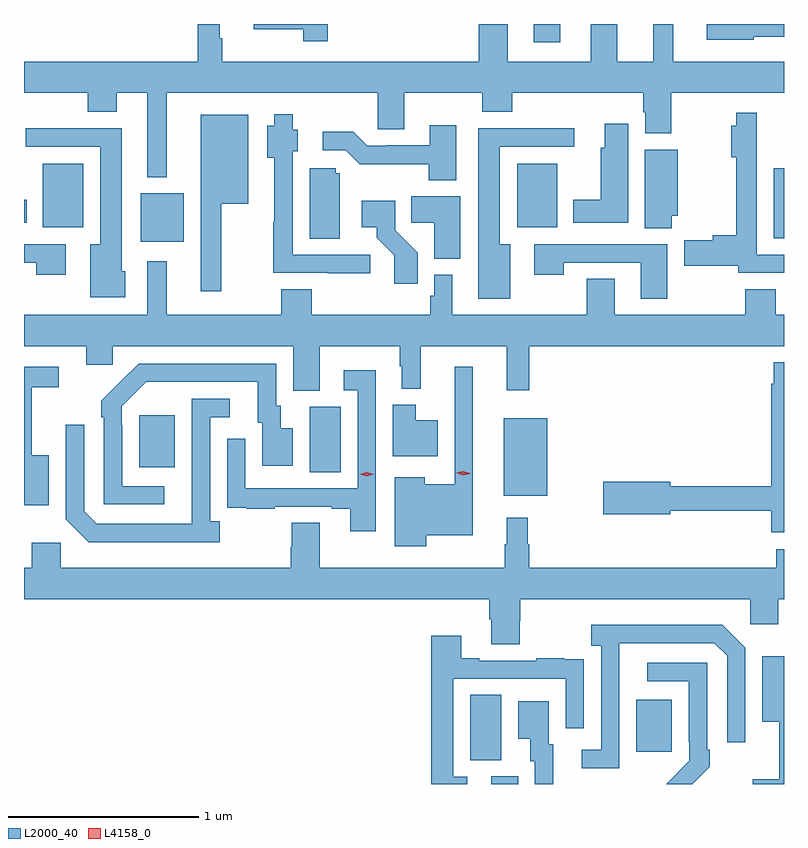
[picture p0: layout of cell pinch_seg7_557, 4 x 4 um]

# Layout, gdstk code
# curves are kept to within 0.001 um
import gdstk
lib = gdstk.Library(unit=1e-6, precision=1e-09)
def R(c, l, rs):  # rectangles x0, y0, x1, y1
    for r in rs: c.add(gdstk.rectangle(r[:2], r[2:], *l))
def P(c, l, *ps):  # polygons
    for p in ps: c.add(gdstk.Polygon(p, *l))
L2000_40 = (2000, 40)
L4158_0 = (4158, 0)

pinch_seg7_557 = lib.new_cell('pinch_seg7_557')
R(pinch_seg7_557, L2000_40, [(125.249,1051.591,125.389,1051.632), (125.138,1051.717,125.302,1052.06), (126.011,1051.761,126.199,1052.035), (125.315,1053.107,125.542,1053.517), (124.292,1053.232,124.456,1053.576), (123.395,1053.257,123.583,1053.532), (123.404,1054.445,123.631,1054.699), (126.734,1054.464,126.789,1054.833), (122.888,1054.52,123.1,1054.855), (125.384,1054.52,125.596,1054.855), (122.789,1054.544,122.803,1054.666), (125.471,1055.496,125.611,1055.591)])
P(pinch_seg7_557, L2000_40, [(123.541,1055.228),(124.65,1055.228),(124.65,1055.038),(124.789,1055.038),(124.789,1055.228),(125.2,1055.228),(125.2,1055.129),(125.36,1055.129),(125.36,1055.228),(126.047,1055.228),(126.047,1055.127),(126.059,1055.127),(126.059,1055.015),(126.195,1055.015),(126.195,1055.228),(126.789,1055.228),(126.789,1055.392),(126.205,1055.392),(126.205,1055.591),(126.101,1055.591),(126.101,1055.392),(125.911,1055.392),(125.911,1055.591),(125.771,1055.591),(125.771,1055.392),(125.335,1055.392),(125.335,1055.591),(125.183,1055.591),(125.183,1055.392),(123.832,1055.392),(123.832,1055.516),(123.82,1055.516),(123.82,1055.591),(123.703,1055.591),(123.703,1055.392),(122.789,1055.392),(122.789,1055.228),(123.125,1055.228),(123.125,1055.129),(123.277,1055.129),(123.277,1055.228),(123.437,1055.228),(123.437,1054.784),(123.541,1054.784)],
  [(126.63,1055.525),(126.789,1055.525),(126.789,1055.591),(126.383,1055.591),(126.383,1055.507),(126.63,1055.507)],
  [(124.388,1055.591),(123.998,1055.591),(123.998,1055.564),(124.26,1055.564),(124.26,1055.499),(124.388,1055.499)],
  [(126.789,1054.377),(126.645,1054.377),(126.645,1054.902),(126.646,1054.902),(126.646,1055.125),(126.537,1055.125),(126.537,1055.056),(126.512,1055.056),(126.512,1054.891),(126.537,1054.891),(126.537,1054.479),(126.413,1054.479),(126.413,1054.454),(126.264,1054.454),(126.264,1054.319),(126.548,1054.319),(126.548,1054.281),(126.789,1054.281)],
  [(124.612,1054.377),(124.203,1054.377),(124.203,1054.92),(124.231,1054.92),(124.231,1055.034),(124.204,1055.034),(124.204,1055.116),(124.106,1055.116),(124.106,1055.056),(124.07,1055.056),(124.07,1054.886),(124.106,1054.886),(124.106,1054.55),(124.102,1054.55),(124.102,1054.281),(124.387,1054.281),(124.387,1054.279),(124.612,1054.279)],
  [(123.826,1054.646),(123.97,1054.646),(123.97,1055.113),(123.719,1055.113),(123.719,1054.185),(123.826,1054.185)],
  [(125.968,1055.065),(125.846,1055.065),(125.846,1054.941),(125.825,1054.941),(125.825,1054.666),(125.681,1054.666),(125.681,1054.544),(125.968,1054.544)],
  [(125.065,1055.059),(124.925,1055.059),(124.925,1054.953),(124.696,1054.953),(124.696,1054.95),(124.596,1054.95),(124.523,1055.023),(124.362,1055.023),(124.362,1054.926),(124.482,1054.926),(124.555,1054.853),(124.918,1054.854),(124.918,1054.769),(125.065,1054.769)],
  [(123.322,1054.29),(123.304,1054.29),(123.304,1055.042),(122.799,1055.042),(122.799,1054.944),(123.191,1054.944),(123.191,1054.432),(123.137,1054.432),(123.137,1054.154),(123.322,1054.154)],
  [(125.347,1054.432),(125.293,1054.432),(125.293,1054.944),(125.686,1054.944),(125.686,1055.042),(125.18,1055.042),(125.18,1054.146),(125.347,1054.146)],
  [(126.198,1054.583),(126.229,1054.583),(126.229,1054.93),(126.056,1054.93),(126.056,1054.516),(126.198,1054.516)],
  [(124.45,1054.806),(124.431,1054.806),(124.431,1054.833),(124.292,1054.833),(124.292,1054.462),(124.45,1054.462)],
  [(125.086,1054.684),(124.828,1054.684),(124.828,1054.546),(124.949,1054.546),(124.949,1054.355),(125.086,1054.355)],
  [(124.862,1054.386),(124.743,1054.505),(124.743,1054.66),(124.566,1054.66),(124.566,1054.52),(124.646,1054.52),(124.646,1054.465),(124.737,1054.375),(124.737,1054.224),(124.862,1054.224)],
  [(123.01,1054.431),(122.789,1054.431),(122.789,1054.335),(122.854,1054.335),(122.854,1054.272),(123.01,1054.272)],
  [(126.175,1054.431),(125.475,1054.431),(125.475,1054.272),(125.631,1054.272),(125.631,1054.335),(126.035,1054.335),(126.035,1054.146),(126.175,1054.146)],
  [(125.33,1053.663),(125.447,1053.663),(125.447,1053.896),(126.789,1053.896),(126.789,1054.06),(126.746,1054.06),(126.746,1054.196),(126.586,1054.196),(126.586,1054.06),(125.899,1054.06),(125.899,1054.25),(125.752,1054.25),(125.752,1054.06),(125.044,1054.06),(125.044,1054.27),(124.947,1054.27),(124.947,1054.161),(124.927,1054.161),(124.927,1054.06),(124.304,1054.06),(124.304,1054.196),(124.144,1054.196),(124.144,1054.06),(123.541,1054.06),(123.541,1054.342),(123.437,1054.342),(123.437,1054.06),(122.789,1054.06),(122.789,1053.896),(123.116,1053.896),(123.116,1053.798),(123.255,1053.798),(123.255,1053.896),(124.205,1053.896),(124.205,1053.661),(124.345,1053.661),(124.345,1053.896),(124.767,1053.896),(124.767,1053.789),(124.778,1053.789),(124.778,1053.671),(124.877,1053.671),(124.877,1053.896),(125.33,1053.896)],
  [(126.789,1053.811),(126.734,1053.811),(126.734,1053.698),(126.722,1053.698),(126.722,1053.158),(126.19,1053.158),(126.19,1053.182),(125.838,1053.182),(125.838,1053.011),(126.19,1053.011),(126.19,1053.03),(126.722,1053.03),(126.722,1052.915),(126.789,1052.915)],
  [(123.526,1053.159),(123.306,1053.159),(123.306,1053.479),(123.303,1053.479),(123.303,1053.579),(123.432,1053.708),(124.019,1053.708),(124.019,1053.492),(124.043,1053.492),(124.043,1053.267),(124.204,1053.267),(124.204,1053.463),(124.141,1053.463),(124.141,1053.582),(124.116,1053.582),(124.116,1053.804),(123.392,1053.804),(123.195,1053.609),(123.195,1053.521),(123.21,1053.521),(123.21,1053.063),(123.526,1053.063)],
  [(124.905,1052.9),(125.152,1052.9),(125.152,1053.787),(125.055,1053.787),(125.055,1053.169),(124.897,1053.169),(124.897,1053.205),(124.739,1053.205),(124.739,1052.843),(124.905,1052.843)],
  [(122.92,1053.322),(122.831,1053.322),(122.831,1053.678),(122.971,1053.678),(122.971,1053.786),(122.789,1053.786),(122.789,1053.058),(122.92,1053.058)],
  [(124.641,1053.769),(124.473,1053.769),(124.473,1053.663),(124.545,1053.663),(124.545,1053.147),(123.954,1053.147),(123.954,1053.409),(123.858,1053.409),(123.858,1053.154),(123.859,1053.154),(123.859,1053.045),(123.961,1053.045),(123.961,1053.039),(124.109,1053.039),(124.109,1053.051),(124.409,1053.051),(124.409,1053.039),(124.505,1053.039),(124.505,1052.922),(124.641,1052.922)],
  [(123.82,1052.974),(123.768,1052.974),(123.768,1053.522),(123.871,1053.522),(123.871,1053.618),(123.672,1053.618),(123.671,1052.961),(123.171,1052.961),(123.105,1053.027),(123.105,1053.481),(123.009,1053.481),(123.009,1052.985),(123.13,1052.864),(123.82,1052.864)],
  [(124.966,1053.505),(124.852,1053.505),(124.852,1053.586),(124.73,1053.586),(124.73,1053.317),(124.966,1053.317)],
  [(125.397,1052.451),(125.402,1052.451),(125.402,1052.564),(126.612,1052.564),(126.612,1052.433),(126.759,1052.433),(126.759,1052.564),(126.789,1052.564),(126.789,1052.827),(126.749,1052.827),(126.749,1052.728),(125.447,1052.728),(125.447,1052.852),(125.44,1052.852),(125.44,1052.992),(125.33,1052.992),(125.33,1052.852),(125.319,1052.852),(125.319,1052.728),(124.345,1052.728),(124.345,1052.966),(124.198,1052.966),(124.198,1052.841),(124.193,1052.841),(124.193,1052.728),(122.982,1052.728),(122.982,1052.86),(122.831,1052.86),(122.831,1052.728),(122.789,1052.728),(122.789,1052.564),(125.237,1052.564),(125.237,1052.458),(125.249,1052.458),(125.249,1052.326),(125.397,1052.326)],
  [(125.922,1052.131),(125.923,1052.331),(126.423,1052.331),(126.489,1052.265),(126.489,1051.812),(126.585,1051.812),(126.585,1052.307),(126.464,1052.428),(125.775,1052.428),(125.775,1052.318),(125.826,1052.318),(125.826,1051.77),(125.724,1051.77),(125.724,1051.674),(125.922,1051.674)],
  [(125.122,1051.629),(125.049,1051.629),(125.049,1052.145),(125.64,1052.145),(125.64,1051.884),(125.736,1051.884),(125.736,1052.138),(125.735,1052.138),(125.735,1052.247),(125.633,1052.247),(125.633,1052.254),(125.485,1052.254),(125.485,1052.241),(125.185,1052.241),(125.185,1052.254),(125.089,1052.254),(125.089,1052.371),(124.933,1052.371),(124.933,1051.591),(125.122,1051.591)],
  [(126.789,1052.263),(126.674,1052.263),(126.674,1051.919),(126.764,1051.919),(126.764,1051.615),(126.624,1051.615),(126.624,1051.591),(126.789,1051.591)],
  [(126.399,1051.683),(126.399,1051.771),(126.384,1051.771),(126.384,1052.229),(126.069,1052.229),(126.069,1052.133),(126.288,1052.133),(126.288,1051.813),(126.291,1051.813),(126.291,1051.713),(126.169,1051.591),(126.307,1051.591)],
  [(125.575,1051.8),(125.551,1051.8),(125.551,1052.026),(125.39,1052.026),(125.39,1051.829),(125.453,1051.829),(125.453,1051.71),(125.478,1051.71),(125.478,1051.591),(125.575,1051.591)])
P(pinch_seg7_557, L4158_0, [(125.1,1053.217),(125.065,1053.229),(125.065,1053.229),(125.065,1053.23),(125.101,1053.237),(125.136,1053.226),(125.137,1053.226),(125.136,1053.225)],
  [(124.592,1053.211),(124.557,1053.221),(124.557,1053.222),(124.557,1053.222),(124.593,1053.231),(124.629,1053.22),(124.629,1053.22),(124.629,1053.22)])

lib.write_gds('pinch_seg7_557.gds')
